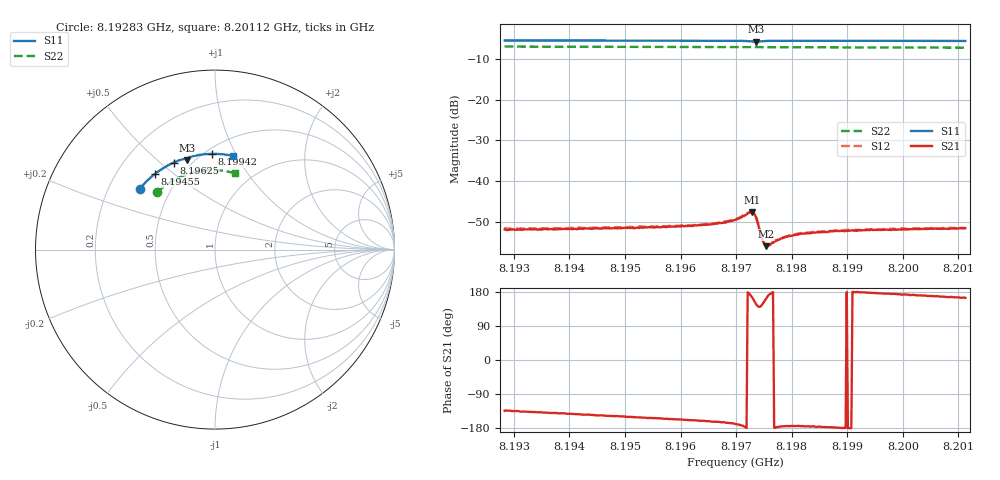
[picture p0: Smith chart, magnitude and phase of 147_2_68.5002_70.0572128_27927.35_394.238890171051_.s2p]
#  HZ  S  RI  R  50.00
! Rohde & Schwarz Vector Network Analyzer
! Rohde-Schwarz,ZNB20-2Port,1311601062101988,3.16
! Created: UTC 3/20/2024, 5:10:16 PM
! freq[Hz]  re:S11  im:S11  re:S21  im:S21  re:S12  im:S12  re:S22  im:S22
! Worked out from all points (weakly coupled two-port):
!   401 points, 8.19283 GHz to 8.20112 GHz, reference 50 ohm
!   highest |S21| = -47.72 dB at 8.19729 GHz (marker M1); lowest = -56.1 dB at 8.19754 GHz (marker M2)
!   lowest |S11| = -5.7 dB at 8.19735 GHz (marker M3), VSWR 3.17, Z = 23 + j31.4 ohm
!   |S11| at or under -10 dB: nowhere
!   |S22| runs from -7.1 to -6.9 dB; largest |S21 - S12| = 0.00023
!   S11 on the Smith chart (normalised r, x): 8.19283 GHz: 0.33, +0.32; 8.19455 GHz: 0.36, +0.43; 8.19625 GHz: 0.41, +0.55; 8.19942 GHz: 0.54, +0.81; 8.20112 GHz: 0.67, +0.97
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8.192833e9  -0.4205 0.3377  -0.00176 -0.00182  -0.00182 -0.00182  -0.3215 0.319
8.194222e9  -0.352 0.4075  -0.00209 -0.00153  -0.00219 -0.00149  -0.2611 0.3675
8.194554e9  -0.3338 0.4221  -0.00216 -0.00145  -0.00223 -0.00139  -0.2454 0.3775
8.195611e9  -0.2718 0.4635  -0.00241 -0.00119  -0.00254 -0.00109  -0.1931 0.4051
8.196253e9  -0.2309 0.4844  -0.00265 -0.001  -0.0027 -0.000922  -0.1596 0.4185
8.196668e9  -0.2031 0.4959  -0.00286 -0.000865  -0.00296 -0.000752  -0.1374 0.4255
8.196979e9  -0.1805 0.5031  -0.00325 -0.000653  -0.00333 -0.000535  -0.1204 0.43
8.197228e9  -0.1592 0.5036  -0.00403 0.000279  -0.00408 0.000464  -0.1066 0.4331
8.19729e9  -0.1551 0.5001  -0.00397 0.00107  -0.004 0.00127  -0.1032 0.4336
8.197331e9  -0.1551 0.4972  -0.00352 0.00166  -0.00347 0.00185  -0.101 0.4343
8.197352e9  -0.1559 0.4964  -0.00312 0.00188  -0.00308 0.00202  -0.0998 0.4342
8.197476e9  -0.1575 0.5042  -0.00158 0.000982  -0.00153 0.00106  -0.0931 0.4358
8.197497e9  -0.1564 0.5058  -0.00152 0.000792  -0.00151 0.000875  -0.092 0.436
8.197539e9  -0.1536 0.5086  -0.00149 0.000492  -0.00157 0.00058  -0.0895 0.4365
8.197601e9  -0.1487 0.5117  -0.0016 0.000186  -0.00164 0.000288  -0.0863 0.437
8.197725e9  -0.1391 0.5157  -0.00183 -7.96e-05  -0.00185 7.67e-06  -0.0792 0.4383
8.197891e9  -0.1268 0.5194  -0.00202 -0.000187  -0.00207 -8.07e-05  -0.07 0.4395
8.19814e9  -0.1087 0.5237  -0.00222 -0.000226  -0.00223 -0.000103  -0.0559 0.4412
8.198368e9  -0.0924 0.5267  -0.00229 -0.000184  -0.00235 -8.55e-05  -0.043 0.4423
8.199425e9  -0.0174 0.5333  -0.00252 0.000122  -0.00253 0.000271  0.017 0.442
8.199756e9  0.00627 0.5333  -0.00251 0.000225  -0.00252 0.000351  0.0358 0.4403
8.201124e9  0.1022 0.5218  -0.00251 0.000724  -0.0025 0.000828  0.1121 0.4246
